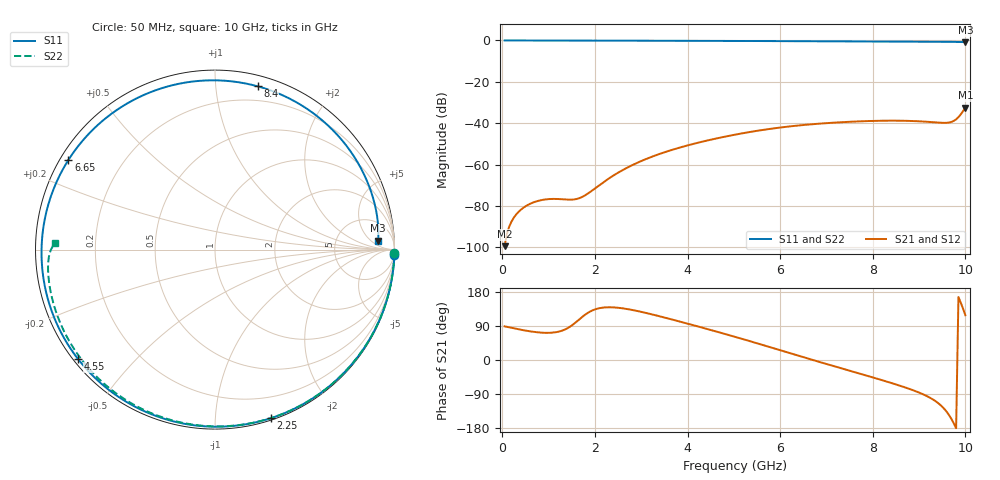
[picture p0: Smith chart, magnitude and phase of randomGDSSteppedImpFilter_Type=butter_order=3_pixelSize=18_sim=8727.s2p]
! freq	dB(S11)	phase(S11)	dB(S12)	phase(S12)
!  dB(S21)	phase(S21)	dB(S22)	phase(S22)
!S-par simulation data
#  GHz  S  DB  R 50
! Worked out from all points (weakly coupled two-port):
!   200 points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, 50 MHz to 10 GHz, reference 50 ohm
!   highest |S21| = -32.43 dB at 10 GHz (marker M1); lowest = -99.4 dB at 50 MHz (marker M2)
!   lowest |S11| = -0.8 dB at 10 GHz (marker M3), VSWR 21.52, Z = 798 + j470 ohm
!   |S11| at or under -10 dB: nowhere
!   |S22| runs from -1.0 to 0.0 dB; largest |S21 - S12| = 0
!   S11 on the Smith chart (normalised r, x): 50 MHz: 0, -69; 2.25 GHz: 0.02, -1.38; 4.55 GHz: 0.01, -0.35; 6.65 GHz: 0.02, +0.28; 8.4 GHz: 0.08, +1.29; 10 GHz: 16, +9
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0.05  -0.00 -1.7  -99.45 88.8  -99.45 88.8  -0.00 -1.0
0.5  -0.02 -16.3  -80.20 77.6  -80.20 77.6  -0.01 -10.2
0.85  -0.03 -27.6  -77.15 72.1  -77.15 72.1  -0.02 -17.2
1.55  -0.06 -49.9  -76.86 95.7  -76.86 95.7  -0.04 -31.2
1.75  -0.07 -56.2  -75.36 116.0  -75.36 116.0  -0.04 -35.1
2.25  -0.09 -71.7  -67.49 139.0  -67.49 139.0  -0.06 -44.9
2.8  -0.11 -88.5  -60.34 132.2  -60.34 132.2  -0.07 -55.3
3.4  -0.14 -106.5  -54.83 115.3  -54.83 115.3  -0.09 -66.5
3.95  -0.17 -123.1  -51.04 97.6  -51.04 97.6  -0.10 -76.5
4.55  -0.20 -141.3  -47.73 77.6  -47.73 77.6  -0.13 -87.1
5.05  -0.24 -156.8  -45.44 60.3  -45.44 60.3  -0.15 -95.7
5.9  -0.31 175.4  -42.39 29.5  -42.39 29.5  -0.19 -110.1
6.65  -0.38 148.6  -40.58 2.0  -40.58 2.0  -0.24 -122.5
6.7  -0.38 146.7  -40.48 0.2  -40.48 0.2  -0.24 -123.3
7.6  -0.47 110.6  -39.21 -31.7  -39.21 -31.7  -0.31 -138.1
8  -0.50 93.3  -38.90 -45.9  -38.90 -45.9  -0.35 -144.7
8.35  -0.53 77.6  -38.77 -58.7  -38.77 -58.7  -0.38 -150.6
8.4  -0.53 75.3  -38.77 -60.6  -38.77 -60.6  -0.39 -151.4
9.1  -0.59 43.1  -39.21 -91.3  -39.21 -91.3  -0.47 -163.6
9.65  -0.66 18.0  -39.65 -146.0  -39.65 -146.0  -0.58 -174.1
9.8  -0.71 11.4  -38.13 -180.0  -38.13 -180.0  -0.66 -177.4
10  -0.81 3.1  -32.43 118.0  -32.43 118.0  -1.00 177.8
